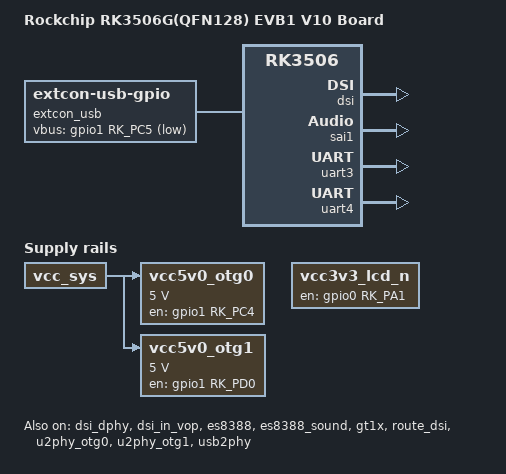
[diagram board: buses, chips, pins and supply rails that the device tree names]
// SPDX-License-Identifier: (GPL-2.0+ OR MIT)
/*
 * Copyright (c) 2024 Rockchip Electronics Co., Ltd.
 */

/dts-v1/;

#include "rk3506.dtsi"
#include "rk3506-evb1-v10.dtsi"

/ {
	model = "Rockchip RK3506G(QFN128) EVB1 V10 Board";
	compatible = "rockchip,rk3506g-evb1-v10", "rockchip,rk3506";

	extcon_usb: extcon-usb {
		compatible = "linux,extcon-usb-gpio";
		vbus-gpio = <&gpio1 RK_PC5 GPIO_ACTIVE_LOW>;
		pinctrl-names = "default";
		pinctrl-0 = <&usb_extcon_vbus>;
		status = "okay";
	};

	sai_dais: sai-dais {
		status = "okay";
		compatible = "rockchip,multi-dais";
		dais = <&sai1>, <&sai4>;
		capture,channel-mapping = <2 2>;
		playback,channel-mapping = <2 0>;
		mclk-fs-mapping = <256 1024>;
	};

	vcc3v3_lcd_n: vcc3v3-lcd0-n {
		compatible = "regulator-fixed";
		enable-active-high;
		gpio = <&gpio0 RK_PA1 GPIO_ACTIVE_HIGH>;
		regulator-name = "vcc3v3_lcd_n";
		regulator-boot-on;
		regulator-state-mem {
			regulator-off-in-suspend;
		};
	};

	vcc5v0_otg0: vcc5v0-otg0-regulator {
		compatible = "regulator-fixed";
		regulator-name = "vcc5v0_otg0";
		regulator-min-microvolt = <5000000>;
		regulator-max-microvolt = <5000000>;
		enable-active-high;
		gpio = <&gpio1 RK_PC4 GPIO_ACTIVE_HIGH>;
		vin-supply = <&vcc_sys>;
		pinctrl-names = "default";
		pinctrl-0 = <&vcc5v0_otg0_en>;
	};

	vcc5v0_otg1: vcc5v0-otg1-regulator {
		compatible = "regulator-fixed";
		regulator-name = "vcc5v0_otg1";
		regulator-boot-on;
		regulator-always-on;
		regulator-min-microvolt = <5000000>;
		regulator-max-microvolt = <5000000>;
		enable-active-high;
		gpio = <&gpio1 RK_PD0 GPIO_ACTIVE_HIGH>;
		vin-supply = <&vcc_sys>;
		pinctrl-names = "default";
		pinctrl-0 = <&vcc5v0_otg1_en>;
	};
};

&acodec_sound {
	status = "disabled";
};

&cma {
	size = <0x1600000>;
};

&dsi {
	status = "okay";
};

&dsi_dphy {
	status = "okay";
};

&dsi_in_vop {
	status = "okay";
};

&dsi_panel {
	power-supply = <&vcc3v3_lcd_n>;
};

&es8388 {
	status = "okay";
};

&es8388_sound {
	status = "okay";
	rockchip,cpu = <&sai_dais>;
	rockchip,codec = <&es8388>, <&audio_codec>;
	rockchip,mclk-fs-mapping = <256 1024>;
};

&gt1x {
	power-supply = <&vcc3v3_lcd_n>;
	status = "okay";
};

&pinctrl {
	usb {
		usb_extcon_vbus: usb-extcon-vbus {
			rockchip,pins = <1 RK_PC5 RK_FUNC_GPIO &pcfg_pull_none>;
		};

		vcc5v0_otg0_en: vcc5v0-otg0-en {
			rockchip,pins = <1 RK_PC4 RK_FUNC_GPIO &pcfg_pull_none>;
		};

		vcc5v0_otg1_en: vcc5v0-otg1-en {
			rockchip,pins = <1 RK_PD0 RK_FUNC_GPIO &pcfg_pull_none>;
		};
	};
};

&route_dsi {
	status = "okay";
};

&sai1 {
	status = "okay";
};

&uart3 {
	pinctrl-names = "default";
	pinctrl-0 = <&rm_io26_uart3_tx &rm_io25_uart3_rx &rm_io24_uart3_rtsn &rm_io29_uart3_ctsn>;
	linux,rs485-enabled-at-boot-time;	/* enable rs485 */
	status = "okay";
};

&uart4 {
	dma-names = "!tx", "!rx";	/* remove ! to enable dma */
	pinctrl-names = "default";
	pinctrl-0 = <&rm_io27_uart4_tx &rm_io28_uart4_rx>;   /* vccio1 */
	status = "okay";
};

&u2phy_otg0 {
	vbus-supply = <&vcc5v0_otg0>;
	rockchip,gpio-vbus-det;
	status = "okay";
};

&u2phy_otg1 {
	phy-supply = <&vcc5v0_otg1>;
	status = "okay";
};

&usb2phy {
	extcon = <&extcon_usb>;
	status = "okay";
};
